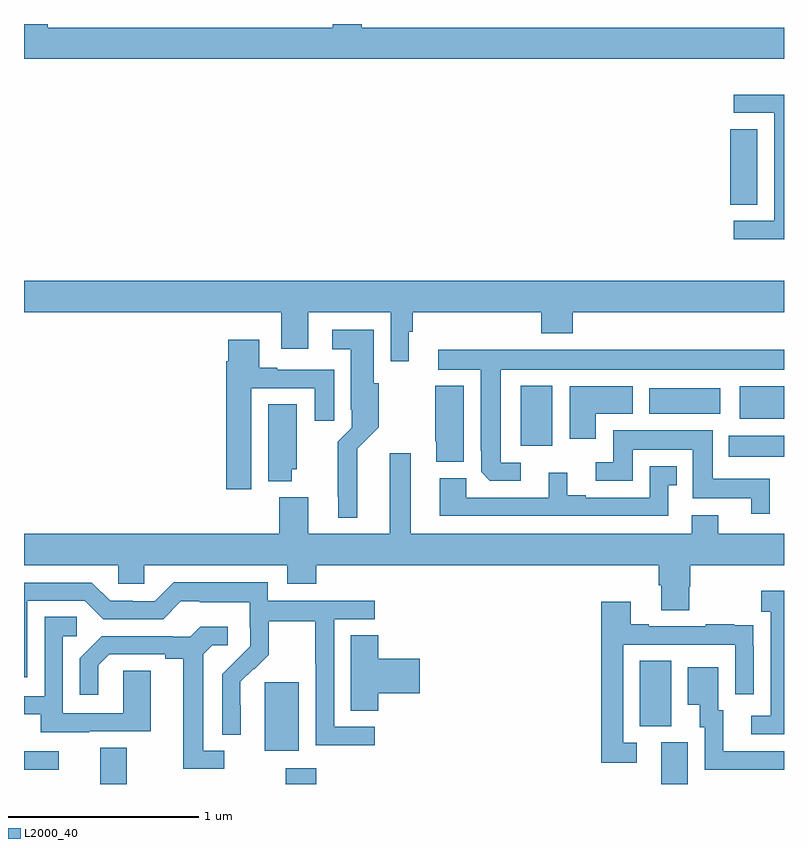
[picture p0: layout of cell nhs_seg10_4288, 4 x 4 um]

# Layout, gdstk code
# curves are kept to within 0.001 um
import gdstk
lib = gdstk.Library(unit=1e-6, precision=1e-09)
def R(c, l, rs):  # rectangles x0, y0, x1, y1
    for r in rs: c.add(gdstk.rectangle(r[:2], r[2:], *l))
def P(c, l, *ps):  # polygons
    for p in ps: c.add(gdstk.Polygon(p, *l))
L2000_40 = (2000, 40)

nhs_seg10_4288 = lib.new_cell('nhs_seg10_4288')
R(nhs_seg10_4288, L2000_40, [(351.401,1296.5,351.541,1296.692), (352.378,1296.5,352.538,1296.583), (354.353,1296.5,354.493,1296.72), (351,1296.576,351.184,1296.672), (352.268,1296.674,352.447,1297.035), (354.242,1296.805,354.406,1297.148), (354.71,1298.222,355,1298.332), (353.615,1298.28,353.779,1298.596), (354.767,1298.423,355,1298.593), (354.29,1298.45,354.664,1298.584), (354.716,1299.55,354.859,1299.947)])
P(nhs_seg10_4288, L2000_40, [(355,1300.48),(352.778,1300.48),(352.778,1300.5),(352.626,1300.5),(352.626,1300.48),(351.124,1300.48),(351.124,1300.5),(351,1300.5),(351,1300.316),(355,1300.316)],
  [(355,1300.128),(354.735,1300.128),(354.735,1300.032),(354.948,1300.032),(354.948,1299.465),(354.735,1299.465),(354.735,1299.367),(355,1299.367)],
  [(353.026,1298.881),(353.045,1298.881),(353.045,1298.984),(353.723,1298.984),(353.723,1298.873),(353.888,1298.873),(353.888,1298.984),(355,1298.984),(355,1299.148),(351,1299.148),(351,1298.984),(352.355,1298.984),(352.355,1298.79),(352.495,1298.79),(352.495,1298.984),(352.929,1298.984),(352.929,1298.724),(353.026,1298.724)],
  [(352.753,1298.264),(352.866,1298.377),(352.866,1298.61),(352.84,1298.61),(352.84,1298.89),(352.623,1298.89),(352.623,1298.789),(352.721,1298.789),(352.721,1298.47),(352.725,1298.47),(352.725,1298.376),(352.651,1298.302),(352.651,1298.011),(352.655,1298.011),(352.655,1297.901),(352.753,1297.901)],
  [(352.195,1298.583),(352.529,1298.583),(352.529,1298.412),(352.633,1298.412),(352.633,1298.679),(352.333,1298.679),(352.333,1298.692),(352.237,1298.692),(352.237,1298.839),(352.076,1298.839),(352.076,1298.726),(352.064,1298.726),(352.064,1298.052),(352.195,1298.052)],
  [(353.614,1298.19),(353.509,1298.19),(353.509,1298.681),(355,1298.681),(355,1298.785),(353.181,1298.785),(353.181,1298.681),(353.405,1298.681),(353.406,1298.143),(353.452,1298.097),(353.614,1298.097)],
  [(353.314,1298.596),(353.164,1298.596),(353.164,1298.305),(353.171,1298.305),(353.171,1298.195),(353.314,1298.195)],
  [(354.01,1298.45),(354.205,1298.45),(354.205,1298.593),(353.873,1298.593),(353.873,1298.316),(354.01,1298.316)],
  [(352.408,1298.157),(352.435,1298.157),(352.435,1298.498),(352.286,1298.498),(352.286,1298.093),(352.408,1298.093)],
  [(354.926,1298.107),(354.625,1298.107),(354.625,1298.362),(354.101,1298.362),(354.101,1298.193),(354.009,1298.193),(354.009,1298.097),(354.205,1298.097),(354.205,1298.258),(354.521,1298.258),(354.521,1298.003),(354.827,1298.003),(354.827,1297.923),(354.926,1297.923)],
  [(354.501,1297.539),(354.506,1297.539),(354.506,1297.652),(355,1297.652),(355,1297.816),(354.655,1297.816),(354.655,1297.915),(354.515,1297.915),(354.515,1297.816),(353.035,1297.816),(353.035,1298.242),(352.925,1298.242),(352.925,1297.816),(352.495,1297.816),(352.495,1298.008),(352.343,1298.008),(352.343,1297.816),(351,1297.816),(351,1297.652),(351.495,1297.652),(351.495,1297.554),(351.633,1297.554),(351.633,1297.652),(352.385,1297.652),(352.385,1297.553),(352.538,1297.553),(352.538,1297.652),(354.341,1297.652),(354.341,1297.546),(354.353,1297.546),(354.353,1297.414),(354.501,1297.414)],
  [(354.39,1298.073),(354.436,1298.073),(354.436,1298.173),(354.294,1298.173),(354.294,1298.007),(353.956,1298.007),(353.956,1298.02),(353.86,1298.02),(353.86,1298.137),(353.762,1298.137),(353.762,1298.007),(353.328,1298.007),(353.328,1298.11),(353.189,1298.11),(353.189,1297.911),(354.39,1297.911)],
  [(352.846,1296.801),(352.632,1296.801),(352.632,1297.368),(352.846,1297.368),(352.846,1297.464),(352.284,1297.464),(352.284,1297.561),(351.787,1297.561),(351.687,1297.461),(351.572,1297.461),(351.572,1297.464),(351.453,1297.464),(351.357,1297.56),(351,1297.56),(351,1297.062),(351.018,1297.062),(351.018,1297.464),(351.321,1297.464),(351.417,1297.368),(351.732,1297.368),(351.825,1297.461),(351.925,1297.461),(351.925,1297.457),(352.188,1297.457),(352.188,1297.323),(352.19,1297.323),(352.19,1297.226),(352.044,1297.078),(352.044,1296.76),(352.14,1296.76),(352.139,1297.037),(352.209,1297.107),(352.212,1297.104),(352.289,1297.181),(352.289,1297.356),(352.534,1297.356),(352.534,1297.132),(352.536,1297.132),(352.536,1296.703),(352.846,1296.703)],
  [(355,1297.516),(354.879,1297.516),(354.879,1297.406),(354.93,1297.406),(354.93,1296.858),(354.828,1296.858),(354.828,1296.762),(355,1296.762)],
  [(354.226,1296.717),(354.153,1296.717),(354.153,1297.233),(354.744,1297.233),(354.744,1296.972),(354.84,1296.972),(354.84,1297.226),(354.839,1297.226),(354.839,1297.335),(354.737,1297.335),(354.737,1297.342),(354.589,1297.342),(354.589,1297.329),(354.289,1297.329),(354.289,1297.342),(354.193,1297.342),(354.193,1297.459),(354.037,1297.459),(354.037,1296.612),(354.226,1296.612)],
  [(351.343,1296.777),(351.667,1296.777),(351.667,1297.097),(351.522,1297.097),(351.522,1296.873),(351.204,1296.873),(351.204,1297.278),(351.277,1297.278),(351.277,1297.379),(351.108,1297.379),(351.108,1296.963),(351,1296.963),(351,1296.867),(351.089,1296.867),(351.089,1296.773),(351.343,1296.773)],
  [(352.054,1296.675),(351.943,1296.675),(351.943,1297.183),(351.99,1297.23),(352.072,1297.23),(352.072,1297.327),(351.928,1297.327),(351.876,1297.275),(351.782,1297.275),(351.782,1297.278),(351.41,1297.278),(351.294,1297.162),(351.294,1296.969),(351.391,1296.969),(351.391,1297.125),(351.448,1297.182),(351.743,1297.182),(351.743,1297.16),(351.839,1297.16),(351.839,1296.579),(352.054,1296.579)],
  [(352.865,1296.977),(353.083,1296.977),(353.083,1297.16),(352.865,1297.16),(352.865,1297.283),(352.721,1297.283),(352.721,1296.886),(352.865,1296.886)],
  [(355,1296.672),(354.679,1296.672),(354.679,1296.888),(354.655,1296.888),(354.655,1297.114),(354.494,1297.114),(354.494,1296.917),(354.557,1296.917),(354.557,1296.798),(354.582,1296.798),(354.582,1296.576),(355,1296.576)])

lib.write_gds('nhs_seg10_4288.gds')
